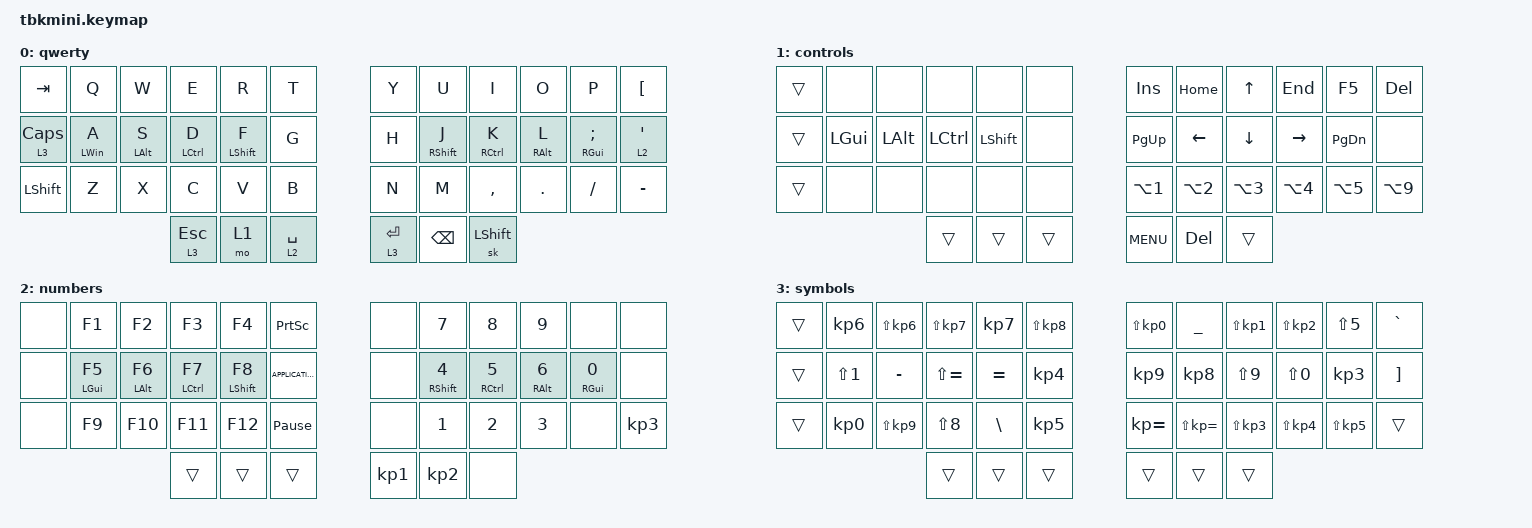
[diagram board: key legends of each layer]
/*
 * Copyright (c) 2021 Casey Webster
 *
 * SPDX-License-Identifier: MIT
 */

#include <behaviors.dtsi>
#include <dt-bindings/zmk/keys.h>

/ {
    macros {
        screenshot: screenshot {
            compatible = "zmk,behavior-macro";
            #binding-cells = <0>;
            bindings = <&macro_tap>, <&kp LG(LS(S))>;

            label = "SCREENSHOT";
        };
    };

    behaviors {
        hml: hml {
            compatible = "zmk,behavior-hold-tap";
            label = "HML";
            #binding-cells = <2>;
            tapping-term-ms = <280>;
            quick-tap-ms = <180>;
            flavor = "balanced";
            hold-trigger-key-positions = <6 7 8 9 10 11 18 19 20 21 22 23 30 31 32 33 34 35 39 40 41 36 37 38 13 14 15 16>;
            bindings = <&kp>, <&kp>;

            require-prior-idle-ms = <150>;
        };

        hmr: hmr {
            compatible = "zmk,behavior-hold-tap";
            label = "HMR";
            #binding-cells = <2>;
            tapping-term-ms = <280>;
            quick-tap-ms = <180>;
            flavor = "balanced";
            bindings = <&kp>, <&kp>;

            require-prior-idle-ms = <150>;
            hold-trigger-key-positions = <0 1 2 3 4 5 12 13 14 15 16 17 24 25 26 27 28 29 36 37 38 39 40 41 19 21 20 22>;
        };
    };

    keymap {
        compatible = "zmk,keymap";

        qwerty {
            // -----------------------------------------------------------------------------------------
            // |  TAB |  Q  |  W  |  E  |  R  |  T  |   |  Y  |  U   |  I  |  O  |  P  | BKSP |
            // | CTRL |  A  |  S  |  D  |  F  |  G  |   |  H  |  J   |  K  |  L  |  ;  |  '   |
            // | SHFT |  Z  |  X  |  C  |  V  |  B  |   |  N  |  M   |  ,  |  .  |  /  | ESC  |
            //                    | GUI | LWR | SPC |   | ENT | RSE  | ALT |

            bindings = <
&kp TAB         &kp Q            &kp W            &kp E         &kp R              &kp T        &kp Y        &kp U               &kp I           &kp O             &kp P           &kp LEFT_BRACKET
&lt 3 CAPSLOCK  &hml LEFT_WIN A  &hml LEFT_ALT S  &hml LCTRL D  &hml LEFT_SHIFT F  &kp G        &kp H        &hmr RIGHT_SHIFT J  &hmr RCTRL K    &hmr RIGHT_ALT L  &hml RGUI SEMI  &lt 2 SQT
&kp LEFT_SHIFT  &kp Z            &kp X            &kp C         &kp V              &kp B        &kp N        &kp M               &kp COMMA       &kp DOT           &kp FSLH        &kp MINUS
                                                  &lt 3 ESC     &mo 1              &lt 2 SPACE  &lt 3 ENTER  &kp BACKSPACE       &sk LEFT_SHIFT
            >;
        };

        controls {
            bindings = <
&trans  &none         &none         &none      &none       &none   &kp INSERT        &kp HOME          &kp UP            &kp END           &kp F5            &kp DEL
&trans  &kp LEFT_GUI  &kp LEFT_ALT  &kp LCTRL  &kp LSHIFT  &none   &kp PAGE_UP       &kp LEFT          &kp DOWN          &kp RIGHT         &kp PAGE_DOWN     &none
&trans  &none         &none         &none      &none       &none   &kp LA(NUMBER_1)  &kp LA(NUMBER_2)  &kp LA(NUMBER_3)  &kp LA(NUMBER_4)  &kp LA(NUMBER_5)  &kp LA(NUMBER_9)
                                    &trans     &trans      &trans  &kp C_MENU        &kp DEL           &trans
            >;
        };

        numbers {
            bindings = <
&none  &kp F1            &kp F2            &kp F3                &kp F4          &kp PRINTSCREEN    &none            &kp NUMBER_7          &kp NUMBER_8         &kp NUMBER_9             &none               &none
&none  &hml LEFT_GUI F5  &hml LEFT_ALT F6  &hml LEFT_CONTROL F7  &hml LSHIFT F8  &kp K_APPLICATION  &none            &hmr RSHIFT NUMBER_4  &hmr RCTRL NUMBER_5  &hmr RIGHT_ALT NUMBER_6  &hmr RGUI NUMBER_0  &none
&none  &kp F9            &kp F10           &kp F11               &kp F12         &kp PAUSE_BREAK    &none            &kp NUMBER_1          &kp NUMBER_2         &kp NUMBER_3             &none               &kp KP_NUMBER_3
                                           &trans                &trans          &trans             &kp KP_NUMBER_1  &kp KP_NUMBER_2       &none
            >;
        };

        symbols {
            bindings = <
&trans  &kp KP_NUMBER_6   &kp LS(KP_NUMBER_6)  &kp LS(KP_NUMBER_7)  &kp KP_NUMBER_7  &kp LS(KP_NUMBER_8)  &kp LS(KP_NUMBER_0)  &kp UNDERSCORE    &kp LS(KP_NUMBER_1)  &kp LS(KP_NUMBER_2)  &kp LS(NUMBER_5)     &kp GRAVE
&trans  &kp LS(NUMBER_1)  &kp MINUS            &kp LS(EQUAL)        &kp EQUAL        &kp KP_NUMBER_4      &kp KP_NUMBER_9      &kp KP_NUMBER_8   &kp LS(NUMBER_9)     &kp LS(NUMBER_0)     &kp KP_NUMBER_3      &kp RBKT
&trans  &kp KP_NUMBER_0   &kp LS(KP_NUMBER_9)  &kp LS(NUMBER_8)     &kp BACKSLASH    &kp KP_NUMBER_5      &kp KP_EQUAL         &kp LS(KP_EQUAL)  &kp LS(KP_NUMBER_3)  &kp LS(KP_NUMBER_4)  &kp LS(KP_NUMBER_5)  &trans
                                               &trans               &trans           &trans               &trans               &trans            &trans
            >;
        };
    };
};
